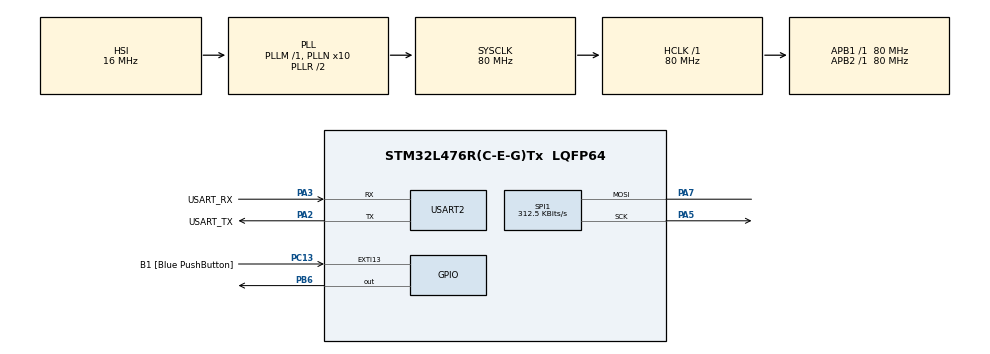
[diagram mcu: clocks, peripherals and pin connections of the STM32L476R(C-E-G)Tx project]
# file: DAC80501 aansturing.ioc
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Mcu.Family=STM32L4
Mcu.Name=STM32L476R(C-E-G)Tx
Mcu.Package=LQFP64
NVIC.PriorityGroup=NVIC_PRIORITYGROUP_4
PA13\ (JTMS-SWDIO).GPIO_Label=TMS
PA13\ (JTMS-SWDIO).Mode=Serial_Wire
PA13\ (JTMS-SWDIO).Signal=SYS_JTMS-SWDIO
PA14\ (JTCK-SWCLK).GPIO_Label=TCK
PA14\ (JTCK-SWCLK).Mode=Serial_Wire
PA14\ (JTCK-SWCLK).Signal=SYS_JTCK-SWCLK
PA2.GPIO_Label=USART_TX
PA2.GPIO_Mode=GPIO_MODE_AF_PP
PA2.GPIO_PuPd=GPIO_NOPULL
PA2.GPIO_Speed=GPIO_SPEED_FREQ_VERY_HIGH
PA2.Mode=Asynchronous
PA2.Signal=USART2_TX
PA3.GPIO_Label=USART_RX
PA3.GPIO_Mode=GPIO_MODE_AF_PP
PA3.GPIO_PuPd=GPIO_NOPULL
PA3.GPIO_Speed=GPIO_SPEED_FREQ_VERY_HIGH
PA3.Mode=Asynchronous
PA3.Signal=USART2_RX
PA5.Mode=Simplex_Bidirectional_Master
PA5.Signal=SPI1_SCK
PA7.Mode=Simplex_Bidirectional_Master
PA7.Signal=SPI1_MOSI
PB3\ (JTDO-TRACESWO).GPIO_Label=SWO
PB3\ (JTDO-TRACESWO).Signal=SYS_JTDO-SWO
PB6.PinState=GPIO_PIN_SET
PB6.Signal=GPIO_Output
PC13.GPIO_Label=B1 [Blue PushButton]
PC13.GPIO_ModeDefaultEXTI=GPIO_MODE_IT_FALLING
PC13.GPIO_PuPd=GPIO_NOPULL
PC13.Signal=GPXTI13
PC14-OSC32_IN\ (PC14).Mode=LSE-External-Oscillator
PC14-OSC32_IN\ (PC14).Signal=RCC_OSC32_IN
PC15-OSC32_OUT\ (PC15).Mode=LSE-External-Oscillator
PC15-OSC32_OUT\ (PC15).Signal=RCC_OSC32_OUT
PH0-OSC_IN\ (PH0).Signal=RCC_OSC_IN
PH1-OSC_OUT\ (PH1).Signal=RCC_OSC_OUT
ProjectManager.HeapSize=0x200
ProjectManager.StackSize=0x400
ProjectManager.TargetToolchain=STM32CubeIDE
RCC.ADCFreq_Value=64000000
RCC.AHBFreq_Value=80000000
RCC.APB1Freq_Value=80000000
RCC.APB1TimFreq_Value=80000000
RCC.APB2Freq_Value=80000000
RCC.APB2TimFreq_Value=80000000
RCC.CortexFreq_Value=80000000
RCC.HCLKFreq_Value=80000000
RCC.HSE_VALUE=8000000
RCC.HSI_VALUE=16000000
RCC.MSI_VALUE=4000000
RCC.PLLN=10
RCC.PLLSourceVirtual=RCC_PLLSOURCE_HSI
RCC.PREFETCH_ENABLE=1
RCC.SYSCLKFreq_VALUE=80000000
RCC.SYSCLKSource=RCC_SYSCLKSOURCE_PLLCLK
RCC.USBFreq_Value=64000000
RCC.VCOOutputFreq_Value=160000000
SPI1.BaudRatePrescaler=SPI_BAUDRATEPRESCALER_256
SPI1.CLKPhase=SPI_PHASE_1EDGE
SPI1.CLKPolarity=SPI_POLARITY_HIGH
SPI1.CalculateBaudRate=312.5 KBits/s
SPI1.DataSize=SPI_DATASIZE_8BIT
SPI1.Direction=SPI_DIRECTION_1LINE
SPI1.Mode=SPI_MODE_MASTER
SPI1.TIMode=SPI_TIMODE_DISABLE
SPI1.VirtualType=VM_MASTER
USART2.VirtualMode-Asynchronous=VM_ASYNC
board=NUCLEO-L476RG

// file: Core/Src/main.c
/* USER CODE BEGIN Header */
//   Voor het instellen van de DAC moet de CPOL = 1 en CPHA = 0(1 Edge). een ding is dat de CPOL = 1 wordt nadat eerste bericht is verstuurd.
// dus voeg de code in "static void MX_SPI1_Init(void)" onder het kopje USER CODE BEGIN SPI1_Init 2

  /* USER CODE END SPI1_Init 2 */

/**
  ******************************************************************************
  * @file           : main.c
  * @brief          : Main program body
  ******************************************************************************
  * @attention
  *
  * Copyright (c) 2024 STMicroelectronics.
  * All rights reserved.
  *
  * This software is licensed under terms that can be found in the LICENSE file
  * in the root directory of this software component.
  * If no LICENSE file comes with this software, it is provided AS-IS.
  *
  ******************************************************************************
  */
/* USER CODE END Header */
#include "main.h"

/* USER CODE BEGIN Includes */
#include "stm32l4xx_hal.h"
/* USER CODE END Includes */

/* USER CODE BEGIN PTD */
extern SPI_HandleTypeDef hspi1;  // De SPI interface die we gebruiken
/* USER CODE END PTD */

/* USER CODE BEGIN PD */

//Registers adres definitie van de DAC80501
#define ADDR_NOOP_register 0x00 //No operation, Hex 0x00
#define ADDR_DEVID_register 0x01 //Device identification, Hex 0x01
#define ADDR_SYNC_register 0x02 //Synchronisation, Hex 0x02
#define ADDR_CONFIG_register 0x03 //Configuration, Hex 0x03
#define ADDR_GAIN_register 0x04 //Gain, Hex 0x04
#define ADDR_TRIGGER_register 0x05 //Trigger, Hex 0x05
#define ADDR_STATUS_register 0x07 //Status, Hex 0x07
#define ADDR_DAC_DATA_register 0x08 //Digital-to-analog converter, Hex 0x08

//Register Data van de DAC80501
#define DATA_NOOP 0x0000
	//#define DATA_DEVID_register 0b0000 0001 0001 0101, kan worden uitgelezen
#define DATA_SYNC_register 0x0000
//#define DATA_CONFIG_register 0x0101 //disabling internal reference & power-down mode
//#define DATA_GAIN_register 0x00 //referencespanning delen door 1 & gain op 1 zetten
#define DATA_TRIGGER_register 0x000A //dit reset de dac  & zet de dac in asynchronous mode(default)
	//#define DATA_STATUS_register 0x01 geeft aan of DAC wordt uitgeschakeld, 0x00 geeft aan dat dac is ingeschakeld
#define DAC80501_SPI_TIMEOUT 100

//#define DATA_CONFIG_register 0b0000000100000000 //disabling internal reference & power-down mode
//#define DATA_GAIN_register 0x00 //referencespanning delen door 1 & gain op 1 zetten
#define DATA_CONFIG_register 0x0000 //enabling internal reference & dis power-down mode
#define DATA_GAIN_register 0x0001 //referencespanning delen door 1 & gain op 2 zetten

//SS pin van de DAC, verander zonodig
#define DAC_SS_Pin GPIO_PIN_6
#define DAC_SS_Port GPIOB

/* USER CODE END PD */

SPI_HandleTypeDef hspi1;

UART_HandleTypeDef huart2;

/* USER CODE BEGIN PV */
uint8_t DacAdres = 0b10010010;
uint16_t DATA__DAC_DATA_register;
uint8_t dummyData = 0b00000000;

HAL_StatusTypeDef check;

//stuur eerst DACadres, Register adres en dan data respectievelijk

/* USER CODE END PV */

void SystemClock_Config(void);
static void MX_GPIO_Init(void);
static void MX_USART2_UART_Init(void);
static void MX_SPI1_Init(void);
/* USER CODE BEGIN PFP */

HAL_StatusTypeDef DAC80501Reset(void)
{
    HAL_StatusTypeDef status;
    uint8_t txData[3];

    // Stel het adres en de data in voor het trigger-register van de DAC80501
    txData[0] = ADDR_TRIGGER_register;                     // Registeradres
    txData[1] = (DATA_TRIGGER_register >> 8 ) & 0xFF;      // MSB van de 16-bits data
    txData[2] = (DATA_TRIGGER_register & 0xFF);              // LSB van de 16-bits data

    // Zet de Chip Select (CS/SS) lijn laag om SPI-communicatie te starten
    HAL_GPIO_WritePin(DAC_SS_Port, DAC_SS_Pin, GPIO_PIN_RESET);
    // Verzend de 24-bits data via SPI
    status = HAL_SPI_Transmit(&hspi1, txData, 3, DAC80501_SPI_TIMEOUT);

    // Zet de Chip Select (CS/SS) lijn hoog om SPI-communicatie te beëindigen
    HAL_GPIO_WritePin(DAC_SS_Port, DAC_SS_Pin, GPIO_PIN_SET);

    // Retourneer de status van de SPI-communicatie (HAL_OK of foutcode)
    return status;
}

HAL_StatusTypeDef DAC80501Config(void)
{
	 HAL_StatusTypeDef status;
	 uint8_t txData[3];

	 txData[0] =  ADDR_CONFIG_register;                     // Registeradres
	 txData[1] = (DATA_CONFIG_register >> 8 ) & 0xFF;      // MSB van de 16-bits data
	 txData[2] = (DATA_CONFIG_register & 0xFF);              // LSB van de 16-bits data

	 // Zet de Chip Select (CS/SS) lijn laag om SPI-communicatie te starten
	 HAL_GPIO_WritePin(DAC_SS_Port, DAC_SS_Pin, GPIO_PIN_RESET);

	 // Verzend de 24-bits data via SPI
	 status = HAL_SPI_Transmit(&hspi1, txData, 3, DAC80501_SPI_TIMEOUT);

	 // Zet de Chip Select (CS/SS) lijn hoog om SPI-communicatie te beëindigen
	 HAL_GPIO_WritePin(DAC_SS_Port, DAC_SS_Pin, GPIO_PIN_SET);

	 // Retourneer de status van de SPI-communicatie (HAL_OK of foutcode)
	 return status;
}

HAL_StatusTypeDef DAC80501Gain(void)
{
	 HAL_StatusTypeDef status;
	 uint8_t txData[3];

	 txData[0] = ADDR_GAIN_register ;                     // Registeradres
	 txData[1] = (DATA_GAIN_register >> 8 ) & 0xFF;      // MSB van de 16-bits data
	 txData[2] = (DATA_GAIN_register & 0xFF);              // LSB van de 16-bits data

	 // Zet de Chip Select (CS/SS) lijn laag om SPI-communicatie te starten
	 HAL_GPIO_WritePin(DAC_SS_Port, DAC_SS_Pin, GPIO_PIN_RESET);

	 // Verzend de 24-bits data via SPI
	 status = HAL_SPI_Transmit(&hspi1, txData, 3, DAC80501_SPI_TIMEOUT);

	 // Zet de Chip Select (CS/SS) lijn hoog om SPI-communicatie te beëindigen
	 HAL_GPIO_WritePin(DAC_SS_Port, DAC_SS_Pin, GPIO_PIN_SET);

	 // Retourneer de status van de SPI-communicatie (HAL_OK of foutcode)
	 return status;
}

HAL_StatusTypeDef DAC80501DataVoltage5V(uint16_t voltage_mV)  //data(getal) moet in mV zijn van 0 tot 5000mV
{
	//Zorgen dat spanning tussen 0-5000mV zit
	if(voltage_mV > 5000){ //Houdt de spanning onder de 5000mV
		voltage_mV = 5000;
	}
	if(voltage_mV < 0){ //Houdt de spanning boven de 0mV. Werkt niet goed vanwerge unsigned naar signed conversion bij functie aanroep
		voltage_mV = 0;
	}

    HAL_StatusTypeDef status;
    uint16_t convertedDataVoltage = (uint16_t)(((uint32_t)voltage_mV * 65535) / 5000); // 0-5000mV omzetten naar 16 bits waarde die naar de dac gestuurd kan worden. gebruik gehele getallen
    uint8_t txData[3];

    // Stel het adres en de data in voor het trigger-register van de DAC80501
    txData[0] = ADDR_DAC_DATA_register;                     // Registeradres
    txData[1] = (convertedDataVoltage >> 8 ) & 0xFF;      // MSB van de 16-bits data
    txData[2] = (convertedDataVoltage & 0xFF);              // LSB van de 16-bits data

    // Zet de Chip Select (CS/SS) lijn laag om SPI-communicatie te starten
    HAL_GPIO_WritePin(DAC_SS_Port, DAC_SS_Pin, GPIO_PIN_RESET);

    // Verzend de 24-bits data via SPI
    status = HAL_SPI_Transmit(&hspi1, txData, 3, DAC80501_SPI_TIMEOUT);

    // Zet de Chip Select (CS/SS) lijn hoog om SPI-communicatie te beëindigen
    HAL_GPIO_WritePin(DAC_SS_Port, DAC_SS_Pin, GPIO_PIN_SET);

    // Retourneer de status van de SPI-communicatie (HAL_OK of foutcode)
    return status;
}

HAL_StatusTypeDef DAC80501DataVoltage60V(uint16_t voltage_mV)  //data(getal) moet in mV zijn van 0 tot 60000mV
{
	//Zorgen dat spanning tussen 0-5000mV zit
	if(voltage_mV > 60000){ //Houdt de spanning onder de 5000mV
		voltage_mV = 60000;
	}
	if(voltage_mV < 0){ //Houdt de spanning boven de 0mV. Werkt niet goed vanwerge unsigned naar signed conversion bij functie aanroep
		voltage_mV = 0;
	}

    HAL_StatusTypeDef status;
    uint16_t convertedDataVoltage = (uint16_t)(((uint32_t)voltage_mV * 65535) / (5000*12)); // 0-60000mV omzetten naar 16 bits waarde die naar de dac gestuurd kan worden. gebruik gehele getallen
    uint8_t txData[3];

    // Stel het adres en de data in voor het trigger-register van de DAC80501
    txData[0] = ADDR_DAC_DATA_register;                     // Registeradres
    txData[1] = (convertedDataVoltage >> 8 ) & 0xFF;      // MSB van de 16-bits data
    txData[2] = (convertedDataVoltage & 0xFF);              // LSB van de 16-bits data

    // Zet de Chip Select (CS/SS) lijn laag om SPI-communicatie te starten
    HAL_GPIO_WritePin(DAC_SS_Port, DAC_SS_Pin, GPIO_PIN_RESET);

    // Verzend de 24-bits data via SPI
    status = HAL_SPI_Transmit(&hspi1, txData, 3, DAC80501_SPI_TIMEOUT);

    // Zet de Chip Select (CS/SS) lijn hoog om SPI-communicatie te beëindigen
    HAL_GPIO_WritePin(DAC_SS_Port, DAC_SS_Pin, GPIO_PIN_SET);

    // Retourneer de status van de SPI-communicatie (HAL_OK of foutcode)
    return status;
}

/* USER CODE END PFP */

int main(void)
{

  /* MCU Configuration--------------------------------------------------------*/

  /* Reset of all peripherals, Initializes the Flash interface and the Systick. */
  HAL_Init();

  /* Configure the system clock */
  SystemClock_Config();

  /* Initialize all configured peripherals */
  MX_GPIO_Init();
  MX_USART2_UART_Init();
  MX_SPI1_Init();

  /* Infinite loop */
  /* USER CODE BEGIN WHILE */
  //SPI starten zonder daadwerkelijk iets aan te sturen
//  HAL_GPIO_WritePin(DAC_SS_Port, DAC_SS_Pin, GPIO_PIN_RESET);
//  HAL_SPI_Transmit(&hspi1, &dummyData, 1, DAC80501_SPI_TIMEOUT);
//  HAL_GPIO_WritePin(DAC_SS_Port, DAC_SS_Pin, GPIO_PIN_SET);
//  HAL_Delay(1);

  //DAC80501Reset();
 // DAC80501Config();
//  DAC80501Gain();

//DAC80501DataVoltage5V(4999); //getal moet in mV zijn 0-5000mV
//  DAC80501DataVoltage60V();

  while (1)
  {
	  DAC80501DataVoltage60V(30000);
	  HAL_Delay(1000);
    /* USER CODE END WHILE */

  }
}

void SystemClock_Config(void)
{
  RCC_OscInitTypeDef RCC_OscInitStruct = {0};
  RCC_ClkInitTypeDef RCC_ClkInitStruct = {0};

  /** Configure the main internal regulator output voltage
  */
  if (HAL_PWREx_ControlVoltageScaling(PWR_REGULATOR_VOLTAGE_SCALE1) != HAL_OK)
  {
    Error_Handler();
  }

  /** Initializes the RCC Oscillators according to the specified parameters
  * in the RCC_OscInitTypeDef structure.
  */
  RCC_OscInitStruct.OscillatorType = RCC_OSCILLATORTYPE_HSI;
  RCC_OscInitStruct.HSIState = RCC_HSI_ON;
  RCC_OscInitStruct.HSICalibrationValue = RCC_HSICALIBRATION_DEFAULT;
  RCC_OscInitStruct.PLL.PLLState = RCC_PLL_ON;
  RCC_OscInitStruct.PLL.PLLSource = RCC_PLLSOURCE_HSI;
  RCC_OscInitStruct.PLL.PLLM = 1;
  RCC_OscInitStruct.PLL.PLLN = 10;
  RCC_OscInitStruct.PLL.PLLP = RCC_PLLP_DIV7;
  RCC_OscInitStruct.PLL.PLLQ = RCC_PLLQ_DIV2;
  RCC_OscInitStruct.PLL.PLLR = RCC_PLLR_DIV2;
  if (HAL_RCC_OscConfig(&RCC_OscInitStruct) != HAL_OK)
  {
    Error_Handler();
  }

  /** Initializes the CPU, AHB and APB buses clocks
  */
  RCC_ClkInitStruct.ClockType = RCC_CLOCKTYPE_HCLK|RCC_CLOCKTYPE_SYSCLK
                              |RCC_CLOCKTYPE_PCLK1|RCC_CLOCKTYPE_PCLK2;
  RCC_ClkInitStruct.SYSCLKSource = RCC_SYSCLKSOURCE_PLLCLK;
  RCC_ClkInitStruct.AHBCLKDivider = RCC_SYSCLK_DIV1;
  RCC_ClkInitStruct.APB1CLKDivider = RCC_HCLK_DIV1;
  RCC_ClkInitStruct.APB2CLKDivider = RCC_HCLK_DIV1;

  if (HAL_RCC_ClockConfig(&RCC_ClkInitStruct, FLASH_LATENCY_4) != HAL_OK)
  {
    Error_Handler();
  }
}

static void MX_SPI1_Init(void)
{

  /* SPI1 parameter configuration*/
  hspi1.Instance = SPI1;
  hspi1.Init.Mode = SPI_MODE_MASTER;
  hspi1.Init.Direction = SPI_DIRECTION_1LINE;
  hspi1.Init.DataSize = SPI_DATASIZE_8BIT;
  hspi1.Init.CLKPolarity = SPI_POLARITY_HIGH;
  hspi1.Init.CLKPhase = SPI_PHASE_1EDGE;
  hspi1.Init.NSS = SPI_NSS_SOFT;
  hspi1.Init.BaudRatePrescaler = SPI_BAUDRATEPRESCALER_256;
  hspi1.Init.FirstBit = SPI_FIRSTBIT_MSB;
  hspi1.Init.TIMode = SPI_TIMODE_DISABLE;
  hspi1.Init.CRCCalculation = SPI_CRCCALCULATION_DISABLE;
  hspi1.Init.CRCPolynomial = 7;
  hspi1.Init.CRCLength = SPI_CRC_LENGTH_DATASIZE;
  hspi1.Init.NSSPMode = SPI_NSS_PULSE_ENABLE;
  if (HAL_SPI_Init(&hspi1) != HAL_OK)
  {
    Error_Handler();
  }
  /* USER CODE BEGIN SPI1_Init 2 */
  //Deze code wordt gebruikt om de CPOL initial value op 1 te zetten. verander alleen de GPIO_InitStruct.Pin pin & HAL_GPIO_Init(GPIOA, &GPIO_InitStruct); poort
//  GPIO_InitTypeDef GPIO_InitStruct = {0};
//       GPIO_InitStruct.Pin = GPIO_PIN_5; // GPIOD Pin 1 is the SPI2_CLK
//       GPIO_InitStruct.Mode = GPIO_MODE_AF_PP;
//       if (hspi1.Init.CLKPolarity==SPI_POLARITY_HIGH) {
//         GPIO_InitStruct.Pull = GPIO_PULLUP;
//       } else {
//         GPIO_InitStruct.Pull = GPIO_PULLDOWN;
//       }
//       GPIO_InitStruct.Speed = GPIO_SPEED_FREQ_VERY_HIGH;
//       GPIO_InitStruct.Alternate = GPIO_AF5_SPI1;
//       HAL_GPIO_Init(GPIOA, &GPIO_InitStruct);
//       HAL_Delay(1);

       GPIO_InitTypeDef GPIO_InitStruct = {0};
       // Configureer SCK Pin
       GPIO_InitStruct.Pin = GPIO_PIN_5; // GPIOA Pin 5 voor SPI1_SCK
       GPIO_InitStruct.Mode = GPIO_MODE_AF_PP;
       if (hspi1.Init.CLKPolarity == SPI_POLARITY_HIGH) {
           GPIO_InitStruct.Pull = GPIO_PULLUP;
       } else {
           GPIO_InitStruct.Pull = GPIO_PULLDOWN;
       }
       GPIO_InitStruct.Speed = GPIO_SPEED_FREQ_VERY_HIGH;
       GPIO_InitStruct.Alternate = GPIO_AF5_SPI1;
       HAL_GPIO_Init(GPIOA, &GPIO_InitStruct);

  /* USER CODE END SPI1_Init 2 */

}

static void MX_USART2_UART_Init(void)
{

  huart2.Instance = USART2;
  huart2.Init.BaudRate = 115200;
  huart2.Init.WordLength = UART_WORDLENGTH_8B;
  huart2.Init.StopBits = UART_STOPBITS_1;
  huart2.Init.Parity = UART_PARITY_NONE;
  huart2.Init.Mode = UART_MODE_TX_RX;
  huart2.Init.HwFlowCtl = UART_HWCONTROL_NONE;
  huart2.Init.OverSampling = UART_OVERSAMPLING_16;
  huart2.Init.OneBitSampling = UART_ONE_BIT_SAMPLE_DISABLE;
  huart2.AdvancedInit.AdvFeatureInit = UART_ADVFEATURE_NO_INIT;
  if (HAL_UART_Init(&huart2) != HAL_OK)
  {
    Error_Handler();
  }

}

static void MX_GPIO_Init(void)
{
  GPIO_InitTypeDef GPIO_InitStruct = {0};

  /* GPIO Ports Clock Enable */
  __HAL_RCC_GPIOC_CLK_ENABLE();
  __HAL_RCC_GPIOH_CLK_ENABLE();
  __HAL_RCC_GPIOA_CLK_ENABLE();
  __HAL_RCC_GPIOB_CLK_ENABLE();

  /*Configure GPIO pin Output Level */
  HAL_GPIO_WritePin(GPIOB, GPIO_PIN_6, GPIO_PIN_SET);

  /*Configure GPIO pin : B1_Pin */
  GPIO_InitStruct.Pin = B1_Pin;
  GPIO_InitStruct.Mode = GPIO_MODE_IT_FALLING;
  GPIO_InitStruct.Pull = GPIO_NOPULL;
  HAL_GPIO_Init(B1_GPIO_Port, &GPIO_InitStruct);

  /*Configure GPIO pin : PB6 */
  GPIO_InitStruct.Pin = GPIO_PIN_6;
  GPIO_InitStruct.Mode = GPIO_MODE_OUTPUT_PP;
  GPIO_InitStruct.Pull = GPIO_NOPULL;
  GPIO_InitStruct.Speed = GPIO_SPEED_FREQ_LOW;
  HAL_GPIO_Init(GPIOB, &GPIO_InitStruct);

}

void Error_Handler(void)
{
  __disable_irq();
  while (1)
  {
  }
}
